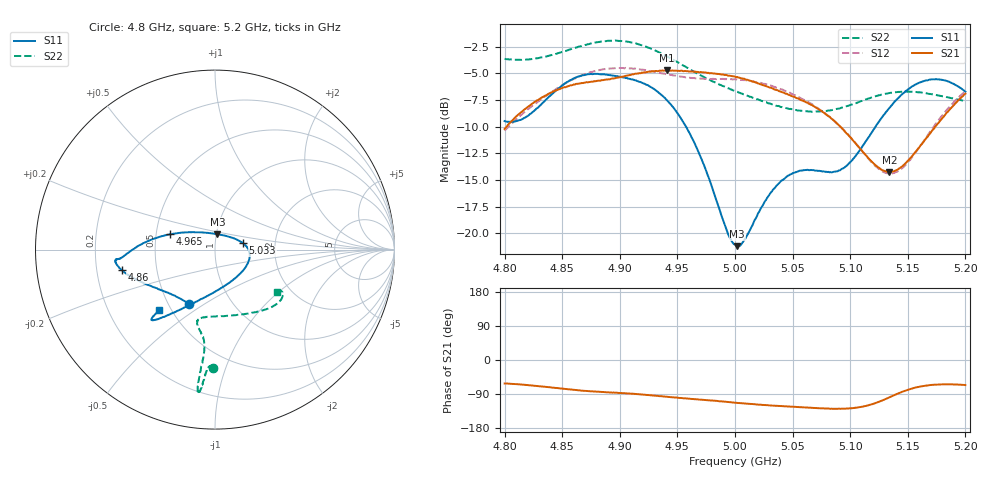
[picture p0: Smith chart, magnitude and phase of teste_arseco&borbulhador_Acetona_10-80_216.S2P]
! Network Analyzer HP8722D
! Hewlett-Packard
! Data name: Linha & Wilkinson
! Saver's name: Rodrigo Anjos
! Comments: Teste da utilização de aquisição
! continua pelo VNA HP8722D
! Time and date: 17/4/2025 16:09
!  Frequency  S11  S21  S12  S22
# HZ  S  MA R 50
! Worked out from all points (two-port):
!   401 points, 4.8 GHz to 5.2 GHz, reference 50 ohm
!   highest |S21| = -4.72 dB at 4.941 GHz (marker M1); lowest = -14.2 dB at 5.134 GHz (marker M2)
!   |S21| within 3 dB of the highest: 4.826 GHz to 5.062 GHz (236.1 MHz wide, 4.78 % of centre); 5.19227 GHz to end of sweep
!   lowest |S11| = -21.2 dB at 5.002 GHz (marker M3), VSWR 1.19, Z = 50.6 + j8.78 ohm
!   |S11| at or under -10 dB: 4.958 GHz to 5.122 GHz (164.4 MHz wide, 3.26 % of centre)
!   |S22| runs from -8.6 to -1.9 dB; largest |S21 - S12| = 0.87
!   S11 on the Smith chart (normalised r, x): 4.8 GHz: 0.63, -0.43; 4.86 GHz: 0.31, -0.10; 4.965 GHz: 0.59, +0.11; 5.033 GHz: 1.37, +0.10; 5.2 GHz: 0.43, -0.37
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4.8e9  0.336 -115.9  0.3087 -62.0  0.3033 -176.2  0.6573 -91.1
4.819e9  0.3526 -136.2  0.3874 -65.9  0.376 -175.5  0.6532 -92.7
4.86e9  0.533 -167.7  0.4986 -78.7  0.5286 -178.8  0.7369 -95.1
4.867e9  0.5486 -170.3  0.5066 -80.9  0.5509 179.9  0.7569 -95.4
4.898e9  0.5449 -174.5  0.537 -86.7  0.5949 174.0  0.7988 -96.6
4.934e9  0.4564 179.8  0.5773 -95.2  0.5674 170.4  0.7055 -97.0
4.941e9  0.421 176.6  0.581 -96.9  0.5577 170.5  0.6753 -96.7
4.965e9  0.264 161.2  0.5739 -103.6  0.5336 172.5  0.5701 -96.1
4.993e9  0.1031 114.3  0.5515 -110.5  0.5279 174.7  0.4816 -98.7
5e9  0.08864 89.2  0.5428 -112.5  0.5276 174.7  0.4641 -99.9
5.002e9  0.08717 80.8  0.5403 -113.0  0.5244 174.8  0.4613 -100.4
5.009e9  0.09459 55.9  0.5266 -114.8  0.5231 174.5  0.4453 -101.9
5.033e9  0.1604 13.1  0.4772 -120.2  0.4887 173.2  0.401 -103.5
5.048e9  0.189 -1.4  0.4434 -122.8  0.4561 172.8  0.3832 -99.4
5.067e9  0.198 -21.7  0.3989 -126.2  0.4032 172.5  0.3716 -88.9
5.096e9  0.2057 -72.2  0.2978 -128.3  0.2986 174.6  0.3931 -66.4
5.122e9  0.3165 -111.1  0.2088 -113.5  0.2063 -168.3  0.4391 -49.0
5.134e9  0.3873 -120.3  0.1943 -98.6  0.1902 -151.5  0.4547 -43.2
5.147e9  0.4574 -126.3  0.2104 -82.0  0.2065 -132.4  0.4613 -38.3
5.167e9  0.5208 -131.2  0.2828 -67.1  0.2868 -113.7  0.4523 -33.3
5.184e9  0.5173 -132.6  0.3689 -64.0  0.3801 -108.4  0.435 -32.0
5.2e9  0.4612 -132.7  0.4511 -66.3  0.4635 -108.2  0.4169 -34.5
